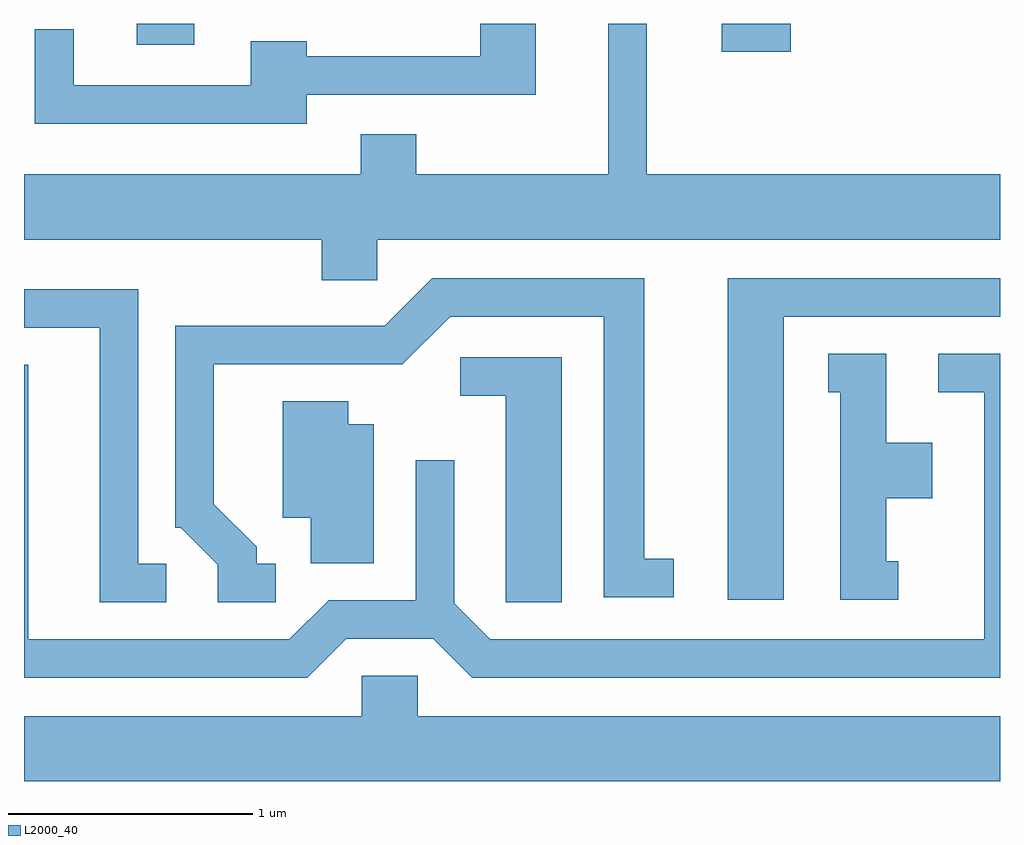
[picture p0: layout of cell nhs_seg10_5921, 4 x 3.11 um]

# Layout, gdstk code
import gdstk
lib = gdstk.Library(unit=1e-6, precision=1e-09)
def R(c, l, rs):  # rectangles x0, y0, x1, y1
    for r in rs: c.add(gdstk.rectangle(r[:2], r[2:], *l))
def P(c, l, *ps):  # polygons
    for p in ps: c.add(gdstk.Polygon(p, *l))
L2000_40 = (2000, 40)

nhs_seg10_5921 = lib.new_cell('nhs_seg10_5921')
R(nhs_seg10_5921, L2000_40, [(362.471,2172.406,362.754,2172.522), (360.073,2172.436,360.309,2172.522)])
P(nhs_seg10_5921, L2000_40, [(361.059,2171.636),(363.611,2171.636),(363.611,2171.904),(362.164,2171.904),(362.164,2172.522),(362.006,2172.522),(362.006,2171.904),(361.219,2171.904),(361.219,2172.069),(360.991,2172.069),(360.991,2171.904),(359.611,2171.904),(359.611,2171.636),(360.831,2171.636),(360.831,2171.471),(361.059,2171.471)],
  [(360.769,2172.231),(361.709,2172.231),(361.709,2172.522),(361.481,2172.522),(361.481,2172.389),(360.769,2172.389),(360.769,2172.449),(360.541,2172.449),(360.541,2172.269),(359.814,2172.269),(359.814,2172.498),(359.656,2172.498),(359.656,2172.111),(360.769,2172.111)],
  [(362.724,2171.321),(363.611,2171.321),(363.611,2171.479),(362.496,2171.479),(362.496,2170.161),(362.724,2170.161)],
  [(360.643,2170.309),(360.564,2170.309),(360.564,2170.377),(360.389,2170.552),(360.389,2171.126),(361.162,2171.126),(361.357,2171.321),(361.986,2171.321),(361.986,2170.171),(362.273,2170.171),(362.273,2170.329),(362.154,2170.329),(362.154,2171.479),(361.284,2171.479),(361.089,2171.284),(360.231,2171.284),(360.231,2170.456),(360.254,2170.456),(360.406,2170.304),(360.406,2170.151),(360.643,2170.151)],
  [(360.193,2170.309),(360.079,2170.309),(360.079,2171.434),(359.611,2171.434),(359.611,2171.276),(359.921,2171.276),(359.921,2170.151),(360.193,2170.151)],
  [(363.193,2170.319),(363.144,2170.319),(363.144,2170.576),(363.334,2170.576),(363.334,2170.804),(363.144,2170.804),(363.144,2171.169),(362.908,2171.169),(362.908,2171.011),(362.956,2171.011),(362.956,2170.161),(363.193,2170.161)],
  [(360.932,2170.001),(361.289,2170.001),(361.449,2169.841),(363.611,2169.841),(363.611,2171.169),(363.358,2171.169),(363.358,2171.011),(363.546,2171.011),(363.546,2169.999),(361.522,2169.999),(361.374,2170.147),(361.374,2170.733),(361.216,2170.733),(361.216,2170.159),(360.859,2170.159),(360.699,2169.999),(359.629,2169.999),(359.629,2171.124),(359.611,2171.124),(359.611,2169.841),(360.772,2169.841)],
  [(361.814,2171.154),(361.398,2171.154),(361.398,2170.996),(361.586,2170.996),(361.586,2170.151),(361.814,2170.151)],
  [(361.044,2170.879),(360.939,2170.879),(360.939,2170.974),(360.671,2170.974),(360.671,2170.496),(360.786,2170.496),(360.786,2170.311),(361.044,2170.311)],
  [(363.611,2169.684),(361.224,2169.684),(361.224,2169.849),(360.996,2169.849),(360.996,2169.684),(359.611,2169.684),(359.611,2169.416),(363.611,2169.416)])

lib.write_gds('nhs_seg10_5921.gds')
